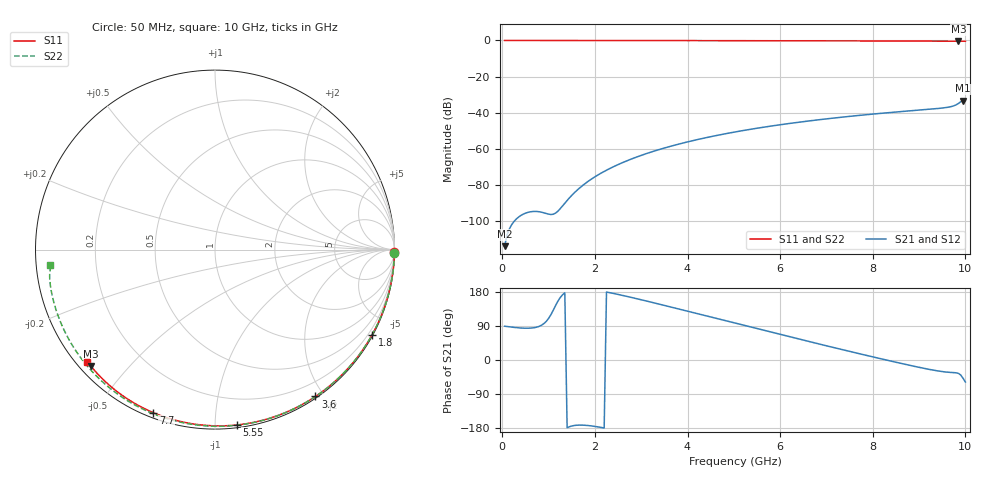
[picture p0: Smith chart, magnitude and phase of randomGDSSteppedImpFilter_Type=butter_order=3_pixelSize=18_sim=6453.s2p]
! freq	dB(S11)	phase(S11)	dB(S12)	phase(S12)
!  dB(S21)	phase(S21)	dB(S22)	phase(S22)
!S-par simulation data
#  GHz  S  DB  R 50
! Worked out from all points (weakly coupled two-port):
!   200 points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, 50 MHz to 10 GHz, reference 50 ohm
!   highest |S21| = -33.31 dB at 9.95 GHz (marker M1); lowest = -114.0 dB at 50 MHz (marker M2)
!   lowest |S11| = -0.5 dB at 9.85 GHz (marker M3), VSWR 37.93, Z = 1.52 - j19.7 ohm
!   |S11| at or under -10 dB: nowhere
!   |S22| runs from -0.7 to 0.0 dB; largest |S21 - S12| = 0
!   S11 on the Smith chart (normalised r, x): 50 MHz: open; 1.8 GHz: 0.03, -3.94; 3.6 GHz: 0.02, -1.90; 5.55 GHz: 0.02, -1.13; 7.7 GHz: 0.02, -0.69; 10 GHz: 0.03, -0.38
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0.05  -0.00 -0.8  -114.01 89.2  -114.01 89.2  -0.00 -1.0
0.85  -0.02 -13.6  -95.19 92.0  -95.19 92.0  -0.02 -16.5
1.75  -0.04 -27.7  -80.06 -172.0  -80.06 -172.0  -0.04 -33.6
1.8  -0.04 -28.5  -79.08 -172.4  -79.08 -172.4  -0.04 -34.5
2.1  -0.04 -33.1  -74.02 -177.2  -74.02 -177.2  -0.05 -40.1
2.5  -0.05 -39.2  -68.79 173.1  -68.79 173.1  -0.06 -47.5
2.9  -0.06 -45.3  -64.61 161.9  -64.61 161.9  -0.07 -54.8
3.4  -0.07 -52.7  -60.36 147.1  -60.36 147.1  -0.08 -63.7
3.6  -0.07 -55.6  -58.88 141.0  -58.88 141.0  -0.09 -67.3
4.3  -0.09 -65.7  -54.43 119.6  -54.43 119.6  -0.11 -79.4
5.05  -0.12 -76.2  -50.60 96.5  -50.60 96.5  -0.14 -92.1
5.55  -0.14 -83.0  -48.44 81.2  -48.44 81.2  -0.17 -100.5
6.1  -0.16 -90.3  -46.35 64.4  -46.35 64.4  -0.20 -109.5
6.7  -0.19 -98.1  -44.36 46.4  -44.36 46.4  -0.24 -119.2
7.7  -0.25 -110.8  -41.54 16.9  -41.54 16.9  -0.32 -135.5
8.35  -0.30 -118.8  -39.99 -1.7  -39.99 -1.7  -0.38 -146.3
8.95  -0.36 -126.1  -38.70 -18.1  -38.70 -18.1  -0.45 -156.4
9.55  -0.42 -133.4  -37.30 -31.4  -37.30 -31.4  -0.54 -167.1
9.75  -0.45 -135.7  -36.23 -33.2  -36.23 -33.2  -0.60 -170.8
9.85  -0.46 -136.9  -34.92 -35.3  -34.92 -35.3  -0.66 -172.5
9.95  -0.44 -138.0  -33.31 -48.3  -33.31 -48.3  -0.70 -173.8
10  -0.44 -138.7  -33.51 -58.1  -33.51 -58.1  -0.67 -174.5
